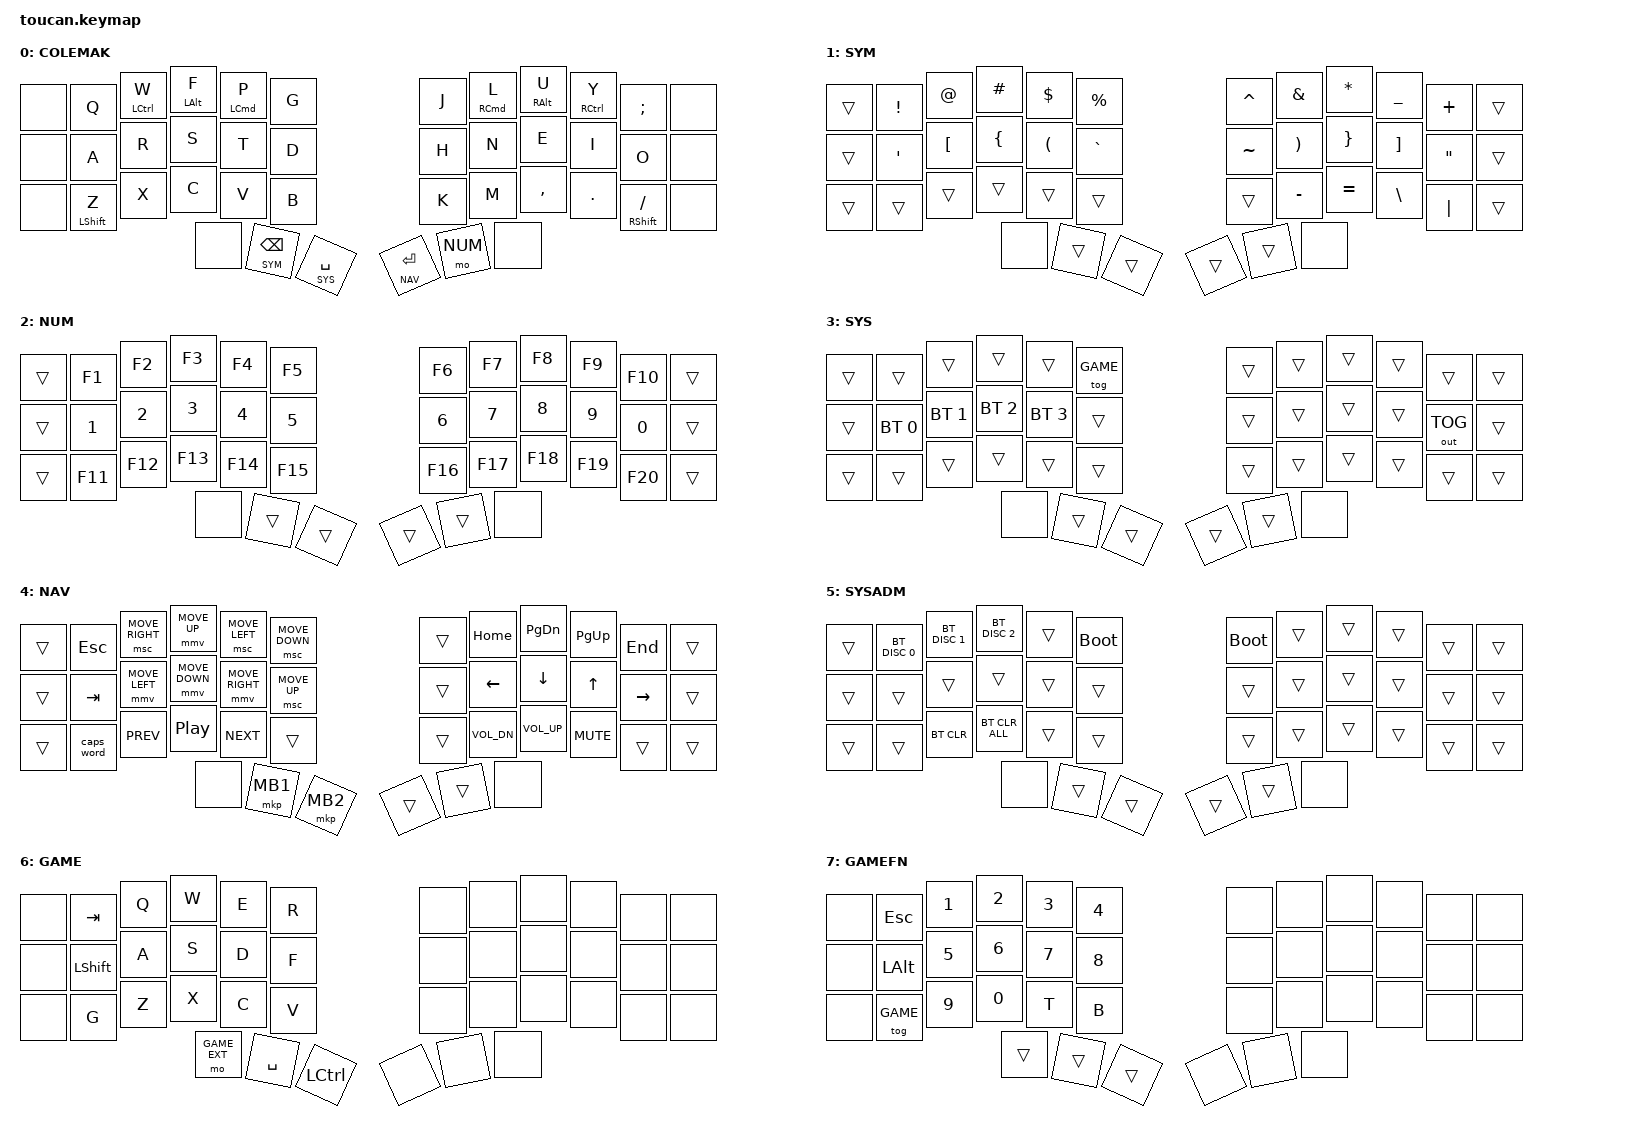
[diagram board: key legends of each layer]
// Copyright (c) 2022 The ZMK Contributors
// SPDX-License-Identifier: MIT
//
// vim: set ft=dts:

#include <behaviors.dtsi>
#include <dt-bindings/zmk/bt.h>
#include <dt-bindings/zmk/keys.h>
#include <dt-bindings/zmk/outputs.h>
#include <dt-bindings/zmk/pointing.h>

// define layers
// SYM=1 and NUM=2 intentionally match the toucan shield's hardcoded
// glidepoint_listener scroller `layers = <1 2>`, so holding either
// thumb layer converts trackpad movement to scroll — no overlay needed.
#define COLEMAK   0
#define SYM       1
#define NUM       2
#define SYS       3
#define NAV       4
#define SYS_ADMIN 5
// GAME=6 and GAME_EXT=7 are mirrored as literals in the toucan shield's
// `gaming_mute` input-listener override (`layers = <6 7>`), which silences the
// trackpad while gaming — keep the two in sync.
#define GAME      6
#define GAME_EXT  7

// Configure the layer tap — quick-tap-ms lets tap-then-hold repeat (e.g. backspace).
&lt {
    quick-tap-ms = <200>;
};

/ {
    behaviors {
        ht: hold_tap {
            compatible = "zmk,behavior-hold-tap";
            #binding-cells = <2>;
            flavor = "tap-preferred";
            tapping-term-ms = <200>;
            quick-tap-ms = <200>;
            require-prior-idle-ms = <125>;
            bindings = <&kp>, <&kp>;
        };
    };

    conditional_layers {
        compatible = "zmk,conditional-layers";

        // Holding both thumb layer keys on the left hand activates SYS_ADMIN.
        sys_admin_left {
            if-layers = <SYM SYS>;
            then-layer = <SYS_ADMIN>;
        };

        // Holding both thumb layer keys on the right hand also activates SYS_ADMIN.
        sys_admin_right {
            if-layers = <NAV NUM>;
            then-layer = <SYS_ADMIN>;
        };
    };

    keymap {
        compatible = "zmk,keymap";

        // ─── Toucan 36 physical layout note ────────────────────────────────────
        // The shield matrix has 6 columns per half (42 binding slots total), but
        // the Toucan 36 (Cantor layout) only populates the inner 5 columns per
        // half.  Outer column positions RC(r,0) and RC(r,11) have no physical key
        // and are bound to &none throughout.
        //
        // All six thumb keys DO exist — three per half, 18 keys per half, 36 in
        // total.  The outer thumbs (leftmost on the left half, rightmost on the
        // right) are simply unused on the typing layers and left &none there.
        // gaming_layer below binds the left outer thumb as its sub-layer hold.
        // ────────────────────────────────────────────────────────────────────────

        colemak_layer {
            display-name = "COLEMAK";
            bindings = <
        //╭────────┬──────────┬────────────┬──────────┬──────────┬──────────╮   ╭──────────┬──────────┬──────────┬────────────┬──────────┬────────╮
        //│ (none) │  Q       │  W/CTRL    │  F/ALT   │  P/CMD   │  G       │   │  J       │  L/CMD   │  U/ALT   │  Y/CTRL    │  ;       │ (none) │
            &none    &kp Q    &ht LCTRL W  &ht LALT F  &ht LCMD P  &kp G          &kp J   &ht RCMD L  &ht RALT U  &ht RCTRL Y  &kp SEMI   &none
        //├────────┼──────────┼────────────┼──────────┼──────────┼──────────┤   ├──────────┼──────────┼──────────┼────────────┼──────────┼────────┤
        //│ (none) │  A       │  R         │  S       │  T       │  D       │   │  H       │  N       │  E       │  I         │  O       │ (none) │
            &none    &kp A      &kp R        &kp S      &kp T      &kp D          &kp H    &kp N       &kp E       &kp I        &kp O      &none
        //├────────┼──────────┼────────────┼──────────┼──────────┼──────────┤   ├──────────┼──────────┼──────────┼────────────┼──────────┼────────┤
        //│ (none) │  Z/SHIFT │  X         │  C       │  V       │  B       │   │  K       │  M       │  ,       │  .         │  //SHIFT │ (none) │
            &none  &ht LSHFT Z  &kp X        &kp C      &kp V      &kp B          &kp K    &kp M    &kp COMMA    &kp DOT   &ht RSHFT FSLH  &none
        //╰────────┴──────────┴────────────┼──────────┼──────────┼──────────┤   ├──────────┼──────────┼──────────┼────────────┴──────────┴────────╯
        //                                 │  (none)  │ SYM/BSPC │ SYS/SPC  │   │ NAV/RET  │  NUM     │  (none)  │
                                           &none   &lt SYM BSPC &lt SYS SPACE   &lt NAV RET  &mo NUM   &none
        //                                 ╰──────────┴──────────┴──────────╯   ╰──────────┴──────────┴──────────╯
            >;
        };

        symbols_layer {
            display-name = "SYM";
            bindings = <
        //╭────────┬──────────┬──────────┬──────────┬──────────┬──────────╮   ╭──────────┬──────────┬──────────┬──────────┬──────────┬────────╮
        //│        │  !       │  @       │  #       │  $       │  %       │   │  ^       │  &       │  *       │  _       │  +       │        │
            &trans   &kp EXCL   &kp AT     &kp HASH   &kp DLLR   &kp PRCNT      &kp CARET  &kp AMPS   &kp STAR   &kp UNDER  &kp PLUS   &trans
        //├────────┼──────────┼──────────┼──────────┼──────────┼──────────┤   ├──────────┼──────────┼──────────┼──────────┼──────────┼────────┤
        //│        │  '       │  [       │  {       │  (       │  `       │   │  ~       │  )       │  }       │  ]       │  "       │        │
            &trans   &kp APOS   &kp LBKT   &kp LBRC   &kp LPAR   &kp GRAVE      &kp TILDE  &kp RPAR   &kp RBRC   &kp RBKT   &kp DQT    &trans
        //├────────┼──────────┼──────────┼──────────┼──────────┼──────────┤   ├──────────┼──────────┼──────────┼──────────┼──────────┼────────┤
        //│        │          │          │          │          │          │   │          │  -       │  =       │  \       │  |       │        │
            &trans   &trans     &trans     &trans     &trans     &trans         &trans     &kp MINUS  &kp EQUAL  &kp BSLH   &kp PIPE   &trans
        //╰────────┴──────────┴──────────┼──────────┼──────────┼──────────┤   ├──────────┼──────────┼──────────┼──────────┴──────────┴────────╯
                                           &none      &trans     &trans         &trans     &trans     &none
        //                               ╰──────────┴──────────┴──────────╯   ╰──────────┴──────────┴──────────╯
            >;
        };

        numbers_layer {
            display-name = "NUM";
            bindings = <
        //╭────────┬──────────┬──────────┬──────────┬──────────┬──────────╮   ╭──────────┬──────────┬──────────┬──────────┬──────────┬────────╮
        //│        │  F1      │  F2      │  F3      │  F4      │  F5      │   │  F6      │  F7      │  F8      │  F9      │  F10     │        │
            &trans   &kp F1     &kp F2     &kp F3     &kp F4     &kp F5         &kp F6     &kp F7     &kp F8     &kp F9     &kp F10    &trans
        //├────────┼──────────┼──────────┼──────────┼──────────┼──────────┤   ├──────────┼──────────┼──────────┼──────────┼──────────┼────────┤
        //│        │  1       │  2       │  3       │  4       │  5       │   │  6       │  7       │  8       │  9       │  0       │        │
            &trans   &kp N1     &kp N2     &kp N3     &kp N4     &kp N5         &kp N6     &kp N7     &kp N8     &kp N9     &kp N0     &trans
        //├────────┼──────────┼──────────┼──────────┼──────────┼──────────┤   ├──────────┼──────────┼──────────┼──────────┼──────────┼────────┤
        //│        │  F11     │  F12     │  F13     │  F14     │  F15     │   │  F16     │  F17     │  F18     │  F19     │  F20     │        │
            &trans   &kp F11    &kp F12    &kp F13    &kp F14    &kp F15        &kp F16    &kp F17    &kp F18    &kp F19    &kp F20    &trans
        //╰────────┴──────────┴──────────┼──────────┼──────────┼──────────┤   ├──────────┼──────────┼──────────┼──────────┴──────────┴────────╯
                                           &none      &trans     &trans         &trans     &trans     &none
        //                               ╰──────────┴──────────┴──────────╯   ╰──────────┴──────────┴──────────╯
            >;
        };

        system_layer {
            display-name = "SYS";
            bindings = <
        //╭────────┬──────────┬──────────┬──────────┬──────────┬──────────╮   ╭──────────┬──────────┬──────────┬──────────┬──────────┬────────╮
        //│        │          │          │          │          │ GAME on  │   │          │          │          │          │          │        │
            &trans   &trans     &trans     &trans     &trans     &tog GAME      &trans     &trans     &trans     &trans     &trans     &trans
        //├────────┼──────────┼──────────┼──────────┼──────────┼──────────┤   ├──────────┼──────────┼──────────┼──────────┼──────────┼────────┤
        //│        │ BT 1     │ BT 2     │ BT 3     │ BT 4     │          │   │          │          │          │          │ OUT TOG  │        │
            &trans  &bt BT_SEL 0 &bt BT_SEL 1 &bt BT_SEL 2 &bt BT_SEL 3 &trans  &trans  &trans     &trans     &trans   &out OUT_TOG  &trans
        //├────────┼──────────┼──────────┼──────────┼──────────┼──────────┤   ├──────────┼──────────┼──────────┼──────────┼──────────┼────────┤
        //│        │          │          │          │          │          │   │          │          │          │          │          │        │
            &trans   &trans     &trans     &trans     &trans     &trans         &trans     &trans     &trans     &trans     &trans     &trans
        //╰────────┴──────────┴──────────┼──────────┼──────────┼──────────┤   ├──────────┼──────────┼──────────┼──────────┴──────────┴────────╯
                                           &none      &trans     &trans         &trans     &trans     &none
        //                               ╰──────────┴──────────┴──────────╯   ╰──────────┴──────────┴──────────╯
            >;
        };

        navigation_layer {
            display-name = "NAV";
            bindings = <
        //╭────────┬──────────┬──────────────┬──────────────┬───────────────┬───────────────╮   ╭──────────┬──────────┬──────────┬──────────┬──────────┬────────╮
        //│        │  ESC     │  scroll →    │  mouse ↑     │  scroll ←     │  scroll ↓     │   │          │  HOME    │  PG DN   │  PG UP   │  END     │        │
            &trans   &kp ESC  &msc MOVE_RIGHT &mmv MOVE_UP  &msc MOVE_LEFT  &msc MOVE_DOWN        &trans   &kp HOME   &kp PG_DN  &kp PG_UP  &kp END    &trans
        //├────────┼──────────┼──────────────┼──────────────┼───────────────┼───────────────┤   ├──────────┼──────────┼──────────┼──────────┼──────────┼────────┤
        //│        │  TAB     │  mouse ←     │  mouse ↓     │  mouse →      │  scroll ↑     │   │          │  ←       │  ↓       │  ↑       │  →       │        │
            &trans   &kp TAB  &mmv MOVE_LEFT  &mmv MOVE_DOWN &mmv MOVE_RIGHT &msc MOVE_UP          &trans   &kp LEFT   &kp DOWN   &kp UP     &kp RIGHT  &trans
        //├────────┼──────────┼──────────────┼──────────────┼───────────────┼───────────────┤   ├──────────┼──────────┼──────────┼──────────┼──────────┼────────┤
        //│        │  CAPS WD │  prev track  │  play/pause  │  next track   │               │   │          │  vol dn  │  vol up  │  mute    │          │        │
            &trans  &caps_word  &kp C_PREV     &kp C_PP       &kp C_NEXT     &trans                &trans  &kp C_VOL_DN &kp C_VOL_UP &kp C_MUTE &trans   &trans
        //╰────────┴──────────┴──────────────┼──────────────┼───────────────┼───────────────┤   ├──────────┼──────────┼──────────┼──────────┴──────────┴────────╯
        //                                   │  click 1     │  click 2      │               │   │          │          │          │
                                               &none          &mkp MB1        &mkp MB2              &trans   &trans     &none
        //                                   ╰──────────────┴───────────────┴───────────────╯   ╰──────────┴──────────┴──────────╯
            >;
        };

        system_admin_layer {
            display-name = "SYSADM";
            bindings = <
        //╭────────┬──────────────┬──────────────┬──────────────┬──────────┬────────────╮   ╭────────────┬──────────┬──────────┬──────────┬──────────┬────────╮
        //│        │  BT disc 1   │  BT disc 2   │  BT disc 3   │          │  BOOTLOAD  │   │  BOOTLOAD  │          │          │          │          │        │
            &trans  &bt BT_DISC 0  &bt BT_DISC 1  &bt BT_DISC 2  &trans    &bootloader      &bootloader  &trans     &trans     &trans     &trans     &trans
        //├────────┼──────────────┼──────────────┼──────────────┼──────────┼────────────┤   ├────────────┼──────────┼──────────┼──────────┼──────────┼────────┤
        //│        │              │              │              │          │            │   │            │          │          │          │          │        │
            &trans   &trans         &trans         &trans         &trans     &trans           &trans       &trans     &trans     &trans     &trans     &trans
        //├────────┼──────────────┼──────────────┼──────────────┼──────────┼────────────┤   ├────────────┼──────────┼──────────┼──────────┼──────────┼────────┤
        //│        │              │  BT clear    │  BT clr all  │          │            │   │            │          │          │          │          │        │
            &trans   &trans        &bt BT_CLR   &bt BT_CLR_ALL   &trans     &trans           &trans       &trans     &trans     &trans     &trans     &trans
        //╰────────┴──────────────┴──────────────┼──────────────┼──────────┼────────────┤   ├────────────┼──────────┼──────────┼──────────┴──────────┴────────╯
                                                   &none          &trans     &trans           &trans       &trans     &none
        //                                       ╰──────────────┴──────────┴────────────╯   ╰────────────┴──────────┴──────────╯
            >;
        };

        // ─── Gaming (left hand only) ───────────────────────────────────────────
        // Toggled on from SYS (hold the left inner thumb, tap the G key) and off
        // from GAME_EXT (hold the left outer thumb, tap the bottom pinky).
        //
        // QWERTY sits one column right of the Colemak alphas, which lands WASD on
        // the grip the column stagger was cut for: W and S share the column the
        // stagger pushes furthest forward (y=0 in toucan.dtsi — the middle
        // finger), A falls under the ring, D under the index.  TAB/LSHFT/LCTRL
        // then take the pinky column, the one pulled furthest back, exactly
        // where a staggered board wants them.  Every binding is a plain &kp — no
        // hold-taps, no home-row mods, nothing that can misfire when keys get
        // mashed.
        //
        // The thumb carries SPACE, LCTRL and the GAME_EXT hold.  SPACE takes the
        // middle key — that is where the thumb naturally falls, and jump is the
        // most-pressed key on the hand.  T and B are displaced by the mod column
        // and parked on GAME_EXT.
        //
        // The right half is deliberately dead: every position is &none, and the
        // trackpad is muted by the `gaming_mute` node in
        // boards/shields/toucan/toucan.dtsi, which keys off `layers = <6 7>` —
        // keep those literals in sync with GAME/GAME_EXT above.  The halves stay
        // BLE-paired (ZMK has no per-layer split shutdown), so the display and
        // battery reporting keep working; only input is silenced.  To bring the
        // right half back: replace its &none bindings here and in
        // gaming_extra_layer, and delete the gaming_mute node.
        //
        // Why crouch is on a thumb and grenade is on the corner key — both learned
        // the hard way after two days of play, so don't "fix" them back:
        //
        //   * LCTRL started on the bottom-left corner key and was unreachable in a
        //     fight.  Two reasons.  The pinky was already holding LSHFT one row up,
        //     so sprint and crouch were the same finger and sliding was physically
        //     impossible.  And on COLEMAK that corner key is `&ht LSHFT Z` — hold
        //     for shift, tap for Z — so after years of touch-typing the hand knows
        //     it only as a sustained hold, never as a quick stab.  Crouch belongs
        //     on a finger that drives neither WASD nor sprint, which leaves only
        //     the thumb.
        //
        //   * G started on the inner thumb next to SPACE — identical caps, no
        //     tactile landmark — and jump/grenade got swapped constantly.  Grenade
        //     is a deliberate, aimed action, so it can afford the corner key, and
        //     being nowhere near the thumb makes the mix-up impossible.
        //
        // Jump and crouch are the adjacent thumb pair now.  That is deliberate:
        // both are movement, so a mis-hit is self-correcting, unlike burning a
        // grenade on cooldown.
        // ────────────────────────────────────────────────────────────────────────
        gaming_layer {
            display-name = "GAME";
            bindings = <
        //╭────────┬──────────┬──────────┬──────────┬──────────┬──────────╮   ╭──────────┬──────────┬──────────┬──────────┬──────────┬────────╮
        //│ (none) │  TAB     │  Q       │  W       │  E       │  R       │   │  (none)  │  (none)  │  (none)  │  (none)  │  (none)  │ (none) │
            &none    &kp TAB    &kp Q      &kp W      &kp E      &kp R          &none      &none      &none      &none      &none      &none
        //├────────┼──────────┼──────────┼──────────┼──────────┼──────────┤   ├──────────┼──────────┼──────────┼──────────┼──────────┼────────┤
        //│ (none) │  LSHFT   │  A       │  S       │  D       │  F       │   │  (none)  │  (none)  │  (none)  │  (none)  │  (none)  │ (none) │
            &none    &kp LSHFT  &kp A      &kp S      &kp D      &kp F          &none      &none      &none      &none      &none      &none
        //├────────┼──────────┼──────────┼──────────┼──────────┼──────────┤   ├──────────┼──────────┼──────────┼──────────┼──────────┼────────┤
        //│ (none) │  G       │  Z       │  X       │  C       │  V       │   │  (none)  │  (none)  │  (none)  │  (none)  │  (none)  │ (none) │
            &none    &kp G      &kp Z      &kp X      &kp C      &kp V          &none      &none      &none      &none      &none      &none
        //╰────────┴──────────┴──────────┼──────────┼──────────┼──────────┤   ├──────────┼──────────┼──────────┼──────────┴──────────┴────────╯
        //                               │ GAME_EXT │  SPACE   │  LCTRL   │   │  (none)  │  (none)  │  (none)  │
                                          &mo GAME_EXT  &kp SPACE  &kp LCTRL    &none      &none      &none
        //                               ╰──────────┴──────────┴──────────╯   ╰──────────┴──────────┴──────────╯
            >;
        };

        // Held with the left outer thumb.  1-4 sit directly above Q/W/E/R, just
        // like a real number row, and the pinky column keeps carrying the odd
        // keys out: ESC above TAB, LALT beside LSHFT, the exit toggle on the
        // corner key.  T and B — displaced from GAME by the mod column — are parked
        // on the bottom row.  The SPACE and LCTRL thumbs stay &trans so jump and
        // crouch still work while this layer is held.
        gaming_extra_layer {
            display-name = "GAMEFN";
            bindings = <
        //╭────────┬──────────┬──────────┬──────────┬──────────┬──────────╮   ╭──────────┬──────────┬──────────┬──────────┬──────────┬────────╮
        //│ (none) │  ESC     │  1       │  2       │  3       │  4       │   │  (none)  │  (none)  │  (none)  │  (none)  │  (none)  │ (none) │
            &none    &kp ESC    &kp N1     &kp N2     &kp N3     &kp N4         &none      &none      &none      &none      &none      &none
        //├────────┼──────────┼──────────┼──────────┼──────────┼──────────┤   ├──────────┼──────────┼──────────┼──────────┼──────────┼────────┤
        //│ (none) │  LALT    │  5       │  6       │  7       │  8       │   │  (none)  │  (none)  │  (none)  │  (none)  │  (none)  │ (none) │
            &none    &kp LALT   &kp N5     &kp N6     &kp N7     &kp N8         &none      &none      &none      &none      &none      &none
        //├────────┼──────────┼──────────┼──────────┼──────────┼──────────┤   ├──────────┼──────────┼──────────┼──────────┼──────────┼────────┤
        //│ (none) │ GAME off │  9       │  0       │  T       │  B       │   │  (none)  │  (none)  │  (none)  │  (none)  │  (none)  │ (none) │
            &none    &tog GAME  &kp N9     &kp N0     &kp T      &kp B          &none      &none      &none      &none      &none      &none
        //╰────────┴──────────┴──────────┼──────────┼──────────┼──────────┤   ├──────────┼──────────┼──────────┼──────────┴──────────┴────────╯
        //                               │  (hold)  │  SPACE   │  LCTRL   │   │  (none)  │  (none)  │  (none)  │
                                           &trans     &trans     &trans         &none      &none      &none
        //                               ╰──────────┴──────────┴──────────╯   ╰──────────┴──────────┴──────────╯
            >;
        };

        extra_3 {
            status = "reserved";
        };
    };
};
